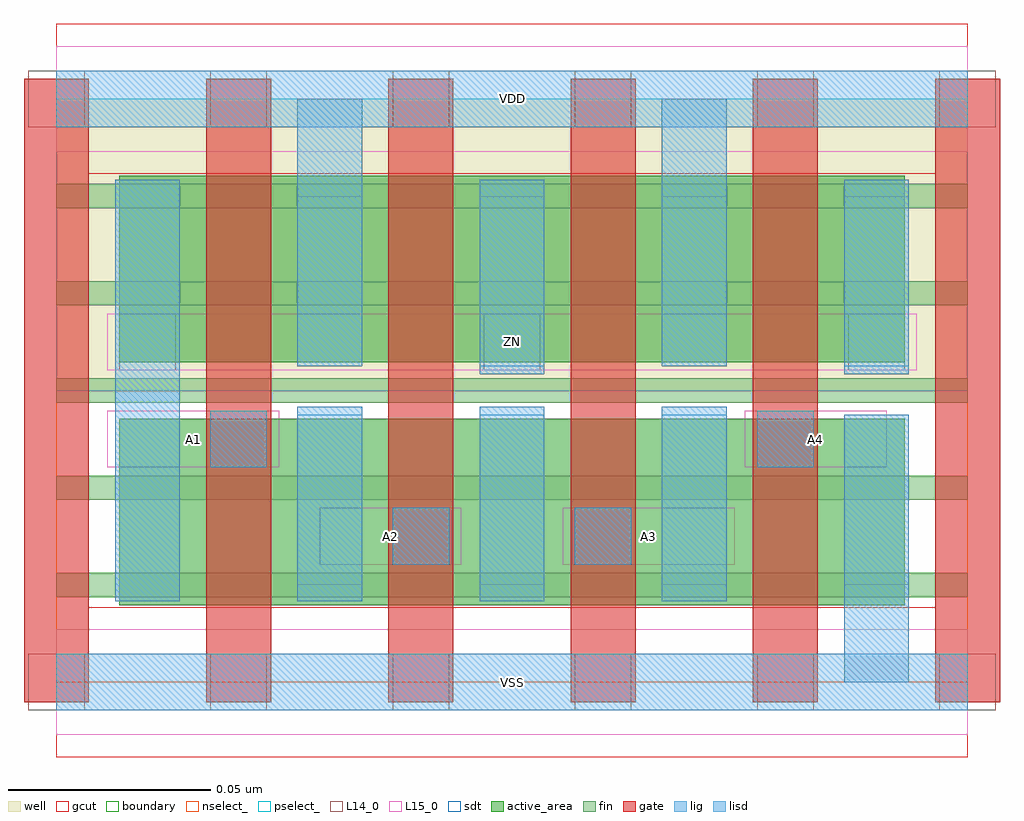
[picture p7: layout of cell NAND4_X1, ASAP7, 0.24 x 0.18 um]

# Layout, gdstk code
import gdstk
lib = gdstk.Library(unit=1e-6, precision=2.5e-10)
def R(c, l, rs):  # rectangles x0, y0, x1, y1
    for r in rs: c.add(gdstk.rectangle(r[:2], r[2:], *l))
def A(c, l, x, y, w, h, nx, ny, dx, dy):  # array of equal rectangles
    R(c, l, [(x+i*dx, y+j*dy, x+i*dx+w, y+j*dy+h) for i in range(nx) for j in range(ny)])
well = (1, 0)
fin = (2, 0)
gate = (7, 0)
gcut = (10, 0)
active_area = (11, 0)
nselect_ = (12, 0)
pselect_ = (13, 0)
L14_0 = (14, 0)
L15_0 = (15, 0)
lig = (16, 0)
lisd = (17, 0)
sdt = (88, 0)
boundary = (100, 0)

nand4_x1 = lib.new_cell('NAND4_X1')
R(nand4_x1, well, [(0,0.072,0.225,0.144)])
A(nand4_x1, fin, 0, 0.021, 0.225, 0.006, 1, 5, 0, 0.024)
A(nand4_x1, gate, -0.008, -0.005, 0.016, 0.154, 6, 1, 0.045, 0)
R(nand4_x1, gcut, [(0,-0.0185,0.225,0.0185), (-0.008,-0.005,0.008,0.149), (0.217,-0.005,0.233,0.149), (0,0.1255,0.225,0.1625)])
A(nand4_x1, active_area, 0.0155, 0.019, 0.059, 0.046, 4, 2, 0.045, 0.06)
R(nand4_x1, nselect_, [(0,0,0.225,0.072)])
R(nand4_x1, pselect_, [(0,0.072,0.225,0.144)])
A(nand4_x1, L14_0, -0.007, -0.007, 0.014, 0.014, 6, 2, 0.045, 0.144)
A(nand4_x1, L14_0, 0.0155, 0.077, 0.014, 0.014, 3, 1, 0.09, 0)
R(nand4_x1, L14_0, [(0.083,0.029,0.097,0.043), (0.128,0.029,0.142,0.043), (0.038,0.053,0.052,0.067), (0.173,0.053,0.187,0.067)])
R(nand4_x1, L15_0, [(0,-0.013,0.225,0.013), (0.065,0.029,0.1,0.043), (0.125,0.029,0.1675,0.043), (0.0125,0.053,0.055,0.067), (0.17,0.053,0.205,0.067), (0.0125,0.077,0.2125,0.091), (0,0.131,0.225,0.157)])
R(nand4_x1, lig, [(0,-0.007,0.225,0.007), (0.083,0.029,0.097,0.043), (0.128,0.029,0.142,0.043), (0.038,0.053,0.052,0.067), (0.173,0.053,0.187,0.067), (0,0.137,0.225,0.151)])
R(nand4_x1, lisd, [(0.1945,0,0.2105,0.066), (0.0145,0.02,0.0305,0.124), (0.0595,0.02,0.0755,0.068), (0.0595,0.02,0.0755,0.068), (0.1045,0.02,0.1205,0.068), (0.1045,0.02,0.1205,0.068), (0.1495,0.02,0.1655,0.068), (0.1495,0.02,0.1655,0.068), (0.1045,0.076,0.1205,0.124), (0.1045,0.076,0.1205,0.124), (0.1945,0.076,0.2105,0.124), (0.0595,0.078,0.0755,0.144), (0.0595,0.078,0.0755,0.144), (0.1495,0.078,0.1655,0.144), (0.1495,0.078,0.1655,0.144)])
R(nand4_x1, sdt, [(0.0145,0.02,0.0305,0.124), (0.0595,0.024,0.0755,0.066), (0.0595,0.024,0.0755,0.066), (0.1045,0.024,0.1205,0.066), (0.1045,0.024,0.1205,0.066), (0.1495,0.024,0.1655,0.066), (0.1495,0.024,0.1655,0.066), (0.1945,0.024,0.2105,0.066), (0.0595,0.078,0.0755,0.12), (0.0595,0.078,0.0755,0.12), (0.1045,0.078,0.1205,0.12), (0.1045,0.078,0.1205,0.12), (0.1495,0.078,0.1655,0.12), (0.1495,0.078,0.1655,0.12), (0.1945,0.078,0.2105,0.12)])
R(nand4_x1, boundary, [(0,0,0.225,0.144)])
nand4_x1.add(gdstk.Label('VDD', (0.1125,0.144), layer=1, texttype=251))
nand4_x1.add(gdstk.Label('VSS', (0.1125,0), layer=3, texttype=251))
nand4_x1.add(gdstk.Label('A1', (0.0338,0.06), layer=15, texttype=251))
nand4_x1.add(gdstk.Label('A2', (0.0825,0.036), layer=15, texttype=251))
nand4_x1.add(gdstk.Label('ZN', (0.1125,0.084), layer=15, texttype=251))
nand4_x1.add(gdstk.Label('A3', (0.1462,0.036), layer=15, texttype=251))
nand4_x1.add(gdstk.Label('A4', (0.1875,0.06), layer=15, texttype=251))
nand4_x1.add(gdstk.Label('VSS', (0.1125,0), layer=15, texttype=251))
nand4_x1.add(gdstk.Label('VDD', (0.1125,0.144), layer=15, texttype=251))

lib.write_gds('NAND4_X1.gds')
